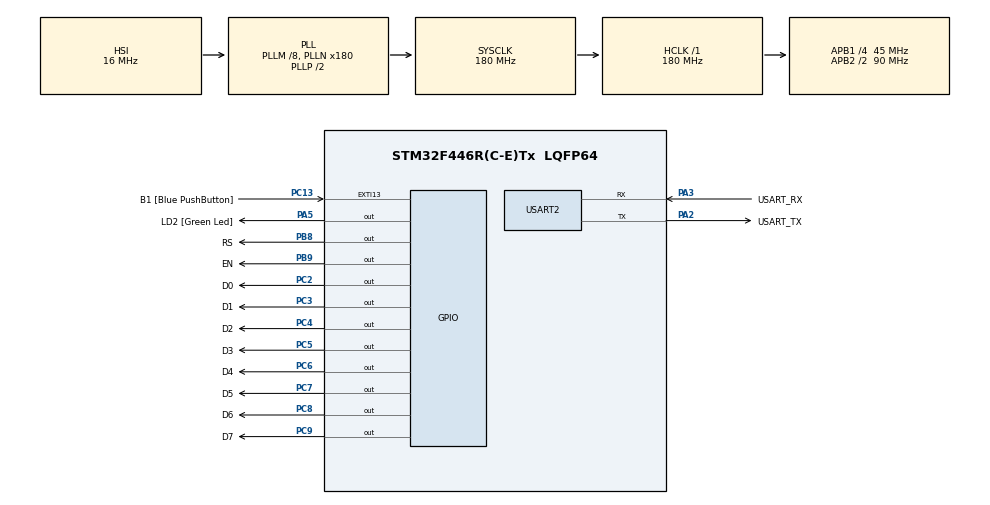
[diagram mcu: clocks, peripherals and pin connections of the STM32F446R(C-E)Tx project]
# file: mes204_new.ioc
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Mcu.Family=STM32F4
Mcu.Name=STM32F446R(C-E)Tx
Mcu.Package=LQFP64
NVIC.EXTI15_10_IRQn=true\:0\:0\:false\:false\:true\:true\:true\:true
NVIC.PriorityGroup=NVIC_PRIORITYGROUP_0
PA13.GPIO_Label=TMS
PA13.Mode=Serial_Wire
PA13.Signal=SYS_JTMS-SWDIO
PA14.GPIO_Label=TCK
PA14.Mode=Serial_Wire
PA14.Signal=SYS_JTCK-SWCLK
PA2.GPIO_Label=USART_TX
PA2.Mode=Asynchronous
PA2.Signal=USART2_TX
PA3.GPIO_Label=USART_RX
PA3.Mode=Asynchronous
PA3.Signal=USART2_RX
PA5.GPIO_Label=LD2 [Green Led]
PA5.Signal=GPIO_Output
PB3.GPIO_Label=SWO
PB3.Signal=SYS_JTDO-SWO
PB8.GPIO_Label=RS
PB8.Signal=GPIO_Output
PB9.GPIO_Label=EN
PB9.Signal=GPIO_Output
PC13.GPIO_Label=B1 [Blue PushButton]
PC13.GPIO_ModeDefaultEXTI=GPIO_MODE_IT_FALLING
PC13.Signal=GPXTI13
PC14-OSC32_IN.Mode=LSE-External-Oscillator
PC14-OSC32_IN.Signal=RCC_OSC32_IN
PC15-OSC32_OUT.Mode=LSE-External-Oscillator
PC15-OSC32_OUT.Signal=RCC_OSC32_OUT
PC2.GPIO_Label=D0
PC2.GPIO_Speed=GPIO_SPEED_FREQ_VERY_HIGH
PC2.Signal=GPIO_Output
PC3.GPIO_Label=D1
PC3.GPIO_Speed=GPIO_SPEED_FREQ_VERY_HIGH
PC3.Signal=GPIO_Output
PC4.GPIO_Label=D2
PC4.GPIO_Speed=GPIO_SPEED_FREQ_VERY_HIGH
PC4.Signal=GPIO_Output
PC5.GPIO_Label=D3
PC5.GPIO_Speed=GPIO_SPEED_FREQ_VERY_HIGH
PC5.Signal=GPIO_Output
PC6.GPIO_Label=D4
PC6.GPIO_Speed=GPIO_SPEED_FREQ_VERY_HIGH
PC6.Signal=GPIO_Output
PC7.GPIO_Label=D5
PC7.GPIO_Speed=GPIO_SPEED_FREQ_VERY_HIGH
PC7.Signal=GPIO_Output
PC8.GPIO_Label=D6
PC8.GPIO_Speed=GPIO_SPEED_FREQ_VERY_HIGH
PC8.Signal=GPIO_Output
PC9.GPIO_Label=D7
PC9.GPIO_Speed=GPIO_SPEED_FREQ_VERY_HIGH
PC9.Signal=GPIO_Output
PH0-OSC_IN.Mode=HSE-External-Oscillator
PH0-OSC_IN.Signal=RCC_OSC_IN
PH1-OSC_OUT.Mode=HSE-External-Oscillator
PH1-OSC_OUT.Signal=RCC_OSC_OUT
ProjectManager.HeapSize=0x200
ProjectManager.StackSize=0x400
ProjectManager.TargetToolchain=CMake
RCC.48MHZClocksFreq_Value=84000000
RCC.AHBFreq_Value=180000000
RCC.APB1CLKDivider=RCC_HCLK_DIV4
RCC.APB1Freq_Value=45000000
RCC.APB1TimFreq_Value=90000000
RCC.APB2CLKDivider=RCC_HCLK_DIV2
RCC.APB2Freq_Value=90000000
RCC.APB2TimFreq_Value=180000000
RCC.CortexFreq_Value=180000000
RCC.FLatency-AdvancedSettings=FLASH_LATENCY_5
RCC.HCLKFreq_Value=180000000
RCC.HSE_VALUE=8000000
RCC.HSI_VALUE=16000000
RCC.PLLM=8
RCC.PLLN=180
RCC.SYSCLKFreq_VALUE=180000000
RCC.SYSCLKSource=RCC_SYSCLKSOURCE_PLLCLK
RCC.USBFreq_Value=180000000
RCC.VCOOutputFreq_Value=360000000
USART2.VirtualMode=VM_ASYNC
board=NUCLEO-F446RE

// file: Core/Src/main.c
/* USER CODE BEGIN Header */
/**
  ******************************************************************************
  * @file           : main.c
  * @brief          : Main program body
  ******************************************************************************
  * @attention
  *
  * Copyright (c) 2025 STMicroelectronics.
  * All rights reserved.
  *
  * This software is licensed under terms that can be found in the LICENSE file
  * in the root directory of this software component.
  * If no LICENSE file comes with this software, it is provided AS-IS.
  *
  ******************************************************************************
  */
/* USER CODE END Header */
#include "main.h"

/* USER CODE BEGIN Includes */
#include "lcd_extreme.h"
#include "graphics.h"
#include <math.h>
#include <stdio.h>
#include "graphics_3d.h"
#include "video_player.h" // 视频引擎
#include "math_effect.h"
#include "particle_effect.h"
#include <malloc.h>
#include "stm32f4xx_hal.h"
/* USER CODE END Includes */

UART_HandleTypeDef huart2;

void SystemClock_Config(void);
static void MX_GPIO_Init(void);
static void MX_USART2_UART_Init(void);

/* USER CODE BEGIN PFP */
extern void LCD_Init_Extreme(void);
extern void LCD_SendCommand(uint8_t command);
void LCD_SetCursor(uint8_t col, uint8_t row);
void LCD_Refresh_From_Char_Buffer(void);
void print_heap_stats(void);
// 定义在链接脚本 (.ld) 中的符号，代表静态内存（.data + .bss）的结束地址
extern char _end;
// 定义在链接脚本中的符号，代表 RAM 的物理结束地址（栈的起点）
extern char _estack;

// 全局变量用于观察
volatile int g_stack_unused_now = 0;   // 当前时刻栈还剩多少没用
volatile int g_stack_usage_now = 0;    // 当前时刻栈用了多少
volatile int g_min_stack_left = -1; // 【核心】历史最低剩余空间（水位线）

/* USER CODE END PFP */

int main(void)
{

  /* MCU Configuration--------------------------------------------------------*/

  /* Reset of all peripherals, Initializes the Flash interface and the Systick. */
  HAL_Init();

  /* Configure the system clock */
  SystemClock_Config();

  /* Initialize all configured peripherals */
  MX_GPIO_Init();
  MX_USART2_UART_Init();
  /* USER CODE BEGIN 2 */

  LCD_Init_Extreme();

  // 状态定义
  typedef enum {
    SCENE_3D_CUBE,      // 几何之美
    SCENE_PLASMA,       // 数学之美 (新增)
    SCENE_PARTICLE_STORM, // 新增：粒子风暴
    SCENE_ASCII_VIDEO   // 存储暴力美学
} DemoState;

  DemoState current_state = SCENE_3D_CUBE;

  // 共享的时间变量
  float global_time = 0.0f;
  // --- 为 Plasma 特效额外增加多个时间变量，榨干性能！ ---
  #define NUM_PLASMA_TIMES 6
  float plasma_times[NUM_PLASMA_TIMES] = {0.0f};
  const float plasma_rates[NUM_PLASMA_TIMES] = {0.08f, 0.05f, 0.11f, -0.07f, 0.09f, -0.04f};

  // 计数器
  int scene_timer = 0;
  const int SCENE_DURATION = 300; // 每个场景大概跑300帧

  /* USER CODE END 2 */

  /* Infinite loop */
  /* USER CODE BEGIN WHILE */

  while (1)
  {

    print_heap_stats();

    // ==========================================
    // 场景 1: 3D Cube
    // ==========================================
    if (current_state == SCENE_3D_CUBE) {
        GFX_Clear();
        GFX_Render_Cube(global_time, global_time * 1.5f, global_time * 0.5f);
        LCD_Refresh_Kaleidoscope();

        global_time += 0.1f;
        scene_timer++;

        if (scene_timer > SCENE_DURATION) {
            scene_timer = 0;
            LCD_SendCommand(0x01);
            HAL_Delay(2);
            current_state = SCENE_PLASMA; // 切换到 Plasma
        }
        HAL_Delay(2);
    }

    // ==========================================
    // 场景 2: Math Plasma (液态金属)
    // ==========================================
    else if (current_state == SCENE_PLASMA) {
        float total_plasma_time = 0.0f;
        for(int i = 0; i < NUM_PLASMA_TIMES; i++) { total_plasma_time += plasma_times[i]; }

        Math_Effect_Render(global_time + total_plasma_time);
        LCD_Refresh_Kaleidoscope();

        global_time += 0.2f;
        for(int i = 0; i < NUM_PLASMA_TIMES; i++) { plasma_times[i] += plasma_rates[i]; }

        scene_timer++;
        if (scene_timer > SCENE_DURATION) {
            scene_timer = 0;
            for(int i = 0; i < NUM_PLASMA_TIMES; i++) { plasma_times[i] = 0.0f; }
            LCD_SendCommand(0x01);
            HAL_Delay(5);
            current_state = SCENE_PARTICLE_STORM; // 切换到粒子风暴
        }
        HAL_Delay(2);
    }

    // ==========================================
    // 场景 3: 粒子风暴 (已修正)
    // ==========================================
    else if (current_state == SCENE_PARTICLE_STORM) {
        GFX_Clear(); // 清空字符缓冲区
        Particle_UpdateAndRender();
        LCD_Refresh_From_Char_Buffer();

        scene_timer++;
        if (scene_timer > SCENE_DURATION) {
            scene_timer = 0;
            LCD_SendCommand(0x01);
            HAL_Delay(5);

            Video_Reset();
            extern void Video_Init_Screen(void);
            Video_Init_Screen();

            current_state = SCENE_ASCII_VIDEO; // 切换到视频播放
        }
        HAL_Delay(2);
    }

    // ==========================================
    // 场景 4: Bad Apple Video
    // ==========================================
    else if (current_state == SCENE_ASCII_VIDEO) {
        uint8_t is_playing = Video_Update_Frame();

        if (is_playing == 0) {
            LCD_SendCommand(0x01);
            HAL_Delay(5);
            scene_timer = 0;
            current_state = SCENE_3D_CUBE; // 循环回到开始
        }
        HAL_Delay(5);
    }
    /* USER CODE END WHILE */

  }
}

void SystemClock_Config(void)
{
  RCC_OscInitTypeDef RCC_OscInitStruct = {0};
  RCC_ClkInitTypeDef RCC_ClkInitStruct = {0};

  /** Configure the main internal regulator output voltage
  */
  __HAL_RCC_PWR_CLK_ENABLE();
  __HAL_PWR_VOLTAGESCALING_CONFIG(PWR_REGULATOR_VOLTAGE_SCALE1);

  /** Initializes the RCC Oscillators according to the specified parameters
  * in the RCC_OscInitTypeDef structure.
  */
  RCC_OscInitStruct.OscillatorType = RCC_OSCILLATORTYPE_HSI;
  RCC_OscInitStruct.HSIState = RCC_HSI_ON;
  RCC_OscInitStruct.HSICalibrationValue = RCC_HSICALIBRATION_DEFAULT;
  RCC_OscInitStruct.PLL.PLLState = RCC_PLL_ON;
  RCC_OscInitStruct.PLL.PLLSource = RCC_PLLSOURCE_HSI;
  RCC_OscInitStruct.PLL.PLLM = 8;
  RCC_OscInitStruct.PLL.PLLN = 180;
  RCC_OscInitStruct.PLL.PLLP = RCC_PLLP_DIV2;
  RCC_OscInitStruct.PLL.PLLQ = 2;
  RCC_OscInitStruct.PLL.PLLR = 2;
  if (HAL_RCC_OscConfig(&RCC_OscInitStruct) != HAL_OK)
  {
    Error_Handler();
  }

  /** Activate the Over-Drive mode
  */
  if (HAL_PWREx_EnableOverDrive() != HAL_OK)
  {
    Error_Handler();
  }

  /** Initializes the CPU, AHB and APB buses clocks
  */
  RCC_ClkInitStruct.ClockType = RCC_CLOCKTYPE_HCLK|RCC_CLOCKTYPE_SYSCLK
                              |RCC_CLOCKTYPE_PCLK1|RCC_CLOCKTYPE_PCLK2;
  RCC_ClkInitStruct.SYSCLKSource = RCC_SYSCLKSOURCE_PLLCLK;
  RCC_ClkInitStruct.AHBCLKDivider = RCC_SYSCLK_DIV1;
  RCC_ClkInitStruct.APB1CLKDivider = RCC_HCLK_DIV4;
  RCC_ClkInitStruct.APB2CLKDivider = RCC_HCLK_DIV2;

  if (HAL_RCC_ClockConfig(&RCC_ClkInitStruct, FLASH_LATENCY_5) != HAL_OK)
  {
    Error_Handler();
  }
}

static void MX_USART2_UART_Init(void)
{

  huart2.Instance = USART2;
  huart2.Init.BaudRate = 115200;
  huart2.Init.WordLength = UART_WORDLENGTH_8B;
  huart2.Init.StopBits = UART_STOPBITS_1;
  huart2.Init.Parity = UART_PARITY_NONE;
  huart2.Init.Mode = UART_MODE_TX_RX;
  huart2.Init.HwFlowCtl = UART_HWCONTROL_NONE;
  huart2.Init.OverSampling = UART_OVERSAMPLING_16;
  if (HAL_UART_Init(&huart2) != HAL_OK)
  {
    Error_Handler();
  }

}

static void MX_GPIO_Init(void)
{
  GPIO_InitTypeDef GPIO_InitStruct = {0};

  /* GPIO Ports Clock Enable */
  __HAL_RCC_GPIOC_CLK_ENABLE();
  __HAL_RCC_GPIOH_CLK_ENABLE();
  __HAL_RCC_GPIOA_CLK_ENABLE();
  __HAL_RCC_GPIOB_CLK_ENABLE();

  /*Configure GPIO pin Output Level */
  HAL_GPIO_WritePin(GPIOC, D0_Pin|D1_Pin|D2_Pin|D3_Pin
                          |D4_Pin|D5_Pin|D6_Pin|D7_Pin, GPIO_PIN_RESET);

  /*Configure GPIO pin Output Level */
  HAL_GPIO_WritePin(LD2_GPIO_Port, LD2_Pin, GPIO_PIN_RESET);

  /*Configure GPIO pin Output Level */
  HAL_GPIO_WritePin(GPIOB, RS_Pin|EN_Pin, GPIO_PIN_RESET);

  /*Configure GPIO pin : B1_Pin */
  GPIO_InitStruct.Pin = B1_Pin;
  GPIO_InitStruct.Mode = GPIO_MODE_IT_FALLING;
  GPIO_InitStruct.Pull = GPIO_NOPULL;
  HAL_GPIO_Init(B1_GPIO_Port, &GPIO_InitStruct);

  /*Configure GPIO pins : D0_Pin D1_Pin D2_Pin D3_Pin
                           D4_Pin D5_Pin D6_Pin D7_Pin */
  GPIO_InitStruct.Pin = D0_Pin|D1_Pin|D2_Pin|D3_Pin
                          |D4_Pin|D5_Pin|D6_Pin|D7_Pin;
  GPIO_InitStruct.Mode = GPIO_MODE_OUTPUT_PP;
  GPIO_InitStruct.Pull = GPIO_NOPULL;
  GPIO_InitStruct.Speed = GPIO_SPEED_FREQ_VERY_HIGH;
  HAL_GPIO_Init(GPIOC, &GPIO_InitStruct);

  /*Configure GPIO pin : LD2_Pin */
  GPIO_InitStruct.Pin = LD2_Pin;
  GPIO_InitStruct.Mode = GPIO_MODE_OUTPUT_PP;
  GPIO_InitStruct.Pull = GPIO_NOPULL;
  GPIO_InitStruct.Speed = GPIO_SPEED_FREQ_LOW;
  HAL_GPIO_Init(LD2_GPIO_Port, &GPIO_InitStruct);

  /*Configure GPIO pins : RS_Pin EN_Pin */
  GPIO_InitStruct.Pin = RS_Pin|EN_Pin;
  GPIO_InitStruct.Mode = GPIO_MODE_OUTPUT_PP;
  GPIO_InitStruct.Pull = GPIO_NOPULL;
  GPIO_InitStruct.Speed = GPIO_SPEED_FREQ_LOW;
  HAL_GPIO_Init(GPIOB, &GPIO_InitStruct);

  /* EXTI interrupt init*/
  HAL_NVIC_SetPriority(EXTI15_10_IRQn, 0, 0);
  HAL_NVIC_EnableIRQ(EXTI15_10_IRQn);

}

/* USER CODE BEGIN 4 */

void print_heap_stats() {
  // 1. 获取当前的栈指针
  uint32_t current_sp = __get_MSP();

  // 2. 静态区的结束地址（也就是栈能伸展到的极限底部）
  uint32_t static_end_ptr = (uint32_t)&_end;

  // 3. 计算当前剩余的安全距离 (Free Stack)
  // 距离撞上静态变量还有多少字节
  int free_now = current_sp - static_end_ptr;

  // 4. 计算当前栈用了多少 (Used Stack)
  // 栈底(_estack) - 当前位置
  int used_now = (uint32_t)&_estack - current_sp;

  // === 更新全局变量 ===
  g_stack_unused_now = free_now;
  g_stack_usage_now = used_now;

  // 【关键】记录历史最危险时刻
  // 这样即使 GFX_Render 函数里栈用了很多，只要这里统计过一次更低的值，就会被记录下来
  if (free_now < g_min_stack_left) {
    g_min_stack_left = free_now;
  }
}
/* USER CODE END 4 */

void Error_Handler(void)
{
  __disable_irq();
  while (1)
  {
  }
}
